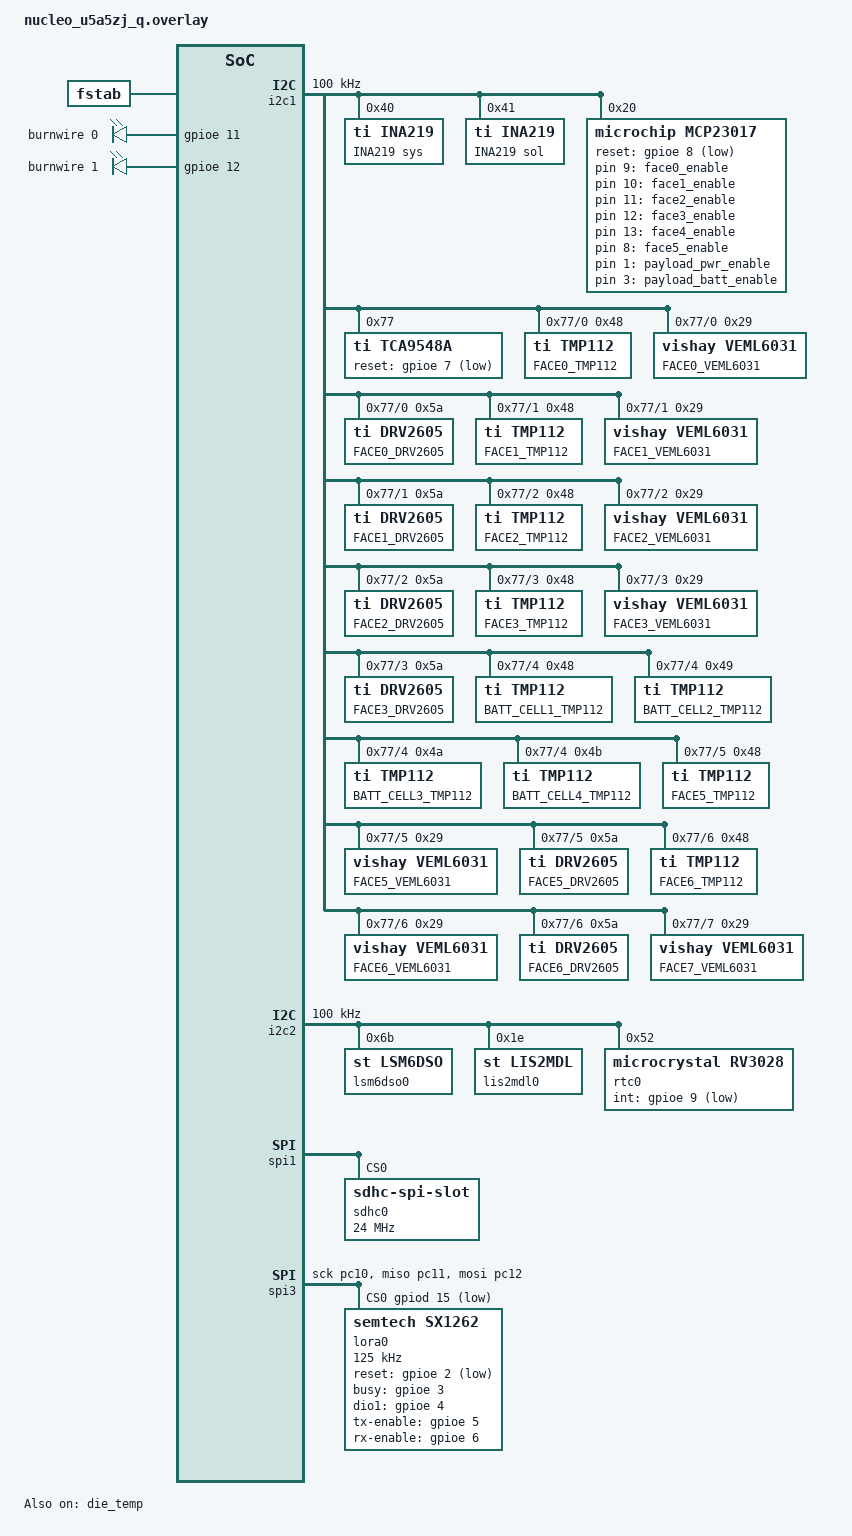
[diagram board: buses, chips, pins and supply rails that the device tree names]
/*
 * NUCLEO-U5A5ZJ-Q bring-up overlay for the PROVES ReferenceDeployment.
 * Supplies every node label the topology binds. The FC peripherals are
 * absent, so their drivers sit on real U5A5 buses and fail at runtime.
 * Bus mapping: v5 i2c0 -> STM32 i2c1 (PB8/PB9), v5 i2c1 -> i2c2 (PF1/PF0),
 * SD (v5 spi0) -> spi1 (PA5-7, CS PD14), LoRa (v5 spi1) -> spi3 (PC10-12).
 * The F' link (cdc_acm_uart0) is usart1, the ST-LINK VCP.
 */
#include <zephyr/dt-bindings/lora/sx126x.h>

cdc_acm_uart0: &usart1 {};
uart0: &usart2 {};
uart1: &lpuart1 {};
led0: &green_led_1 {};

/ {
	chosen {
		zephyr,console = &usart1;
		zephyr,shell-uart = &usart1;
	};

	fstab {
		compatible = "zephyr,fstab";
		ffs1: ffs1 {
			compatible = "zephyr,fstab,fatfs";
			automount;
			disk-access;
			mount-point = "/";
		};
	};

	burnwires {
		compatible = "gpio-leds";
		burnwire0: burnwire0 {
			gpios = <&gpioe 11 GPIO_ACTIVE_HIGH>;
			label = "burnwire 0";
		};
		burnwire1: burnwire1 {
			gpios = <&gpioe 12 GPIO_ACTIVE_HIGH>;
			label = "burnwire 1";
		};
	};

	gpio_outputs {
		compatible = "gpio-leds";
		face0_enable: face0-enable { gpios = <&mcp23017 9 GPIO_ACTIVE_HIGH>; };
		face1_enable: face1-enable { gpios = <&mcp23017 10 GPIO_ACTIVE_HIGH>; };
		face2_enable: face2-enable { gpios = <&mcp23017 11 GPIO_ACTIVE_HIGH>; };
		face3_enable: face3-enable { gpios = <&mcp23017 12 GPIO_ACTIVE_HIGH>; };
		face4_enable: face4-enable { gpios = <&mcp23017 13 GPIO_ACTIVE_HIGH>; };
		face5_enable: face5-enable { gpios = <&mcp23017 8 GPIO_ACTIVE_HIGH>; };
		payload_pwr_enable: payload-pwr-enable { gpios = <&mcp23017 1 GPIO_ACTIVE_HIGH>; };
		payload_batt_enable: payload-batt-enable { gpios = <&mcp23017 3 GPIO_ACTIVE_HIGH>; };
	};
};

&i2c1_scl_pb8 { bias-pull-up; };
&i2c1_sda_pb9 { bias-pull-up; };
&i2c2_scl_pf1 { bias-pull-up; };
&i2c2_sda_pf0 { bias-pull-up; };

&die_temp {
	status = "okay";
};

&i2c1 {
	clock-frequency = <I2C_BITRATE_STANDARD>;

	ina219_0: ina219_0@40 {
		compatible = "ti,ina219";
		reg = <0x40>;
		brng = <0>;
		pg = <0>;
		badc = <12>;
		sadc = <12>;
		shunt-milliohm = <2>;
		lsb-microamp = <61>;
		label = "INA219 sys";
	};
	ina219_1: ina219_1@41 {
		compatible = "ti,ina219";
		reg = <0x41>;
		brng = <0>;
		pg = <0>;
		badc = <12>;
		sadc = <12>;
		shunt-milliohm = <2>;
		lsb-microamp = <61>;
		label = "INA219 sol";
	};

	mcp23017: mcp23017@20 {
		compatible = "microchip,mcp23017";
		reg = <0x20>;
		gpio-controller;
		#gpio-cells = <2>;
		reset-gpios = <&gpioe 8 GPIO_ACTIVE_LOW>;
		ngpios = <16>;
	};

	tca9548a: tca9548a@77 {
		compatible = "ti,tca9548a";
		status = "okay";
		reg = <0x77>;
		#address-cells = <1>;
		#size-cells = <0>;
		label = "TCA9548A";
		reset-gpios = <&gpioe 7 GPIO_ACTIVE_LOW>;
		i2c-mux-idle-disconnect;

		mux_channel_0: i2c_mux@0 {
			reg = <0>;
			#address-cells = <1>;
			#size-cells = <0>;

			face0_temp_sens: tmp112@48 {
				compatible = "ti,tmp112";
				reg = <0x48>;
				status = "okay";
				label = "FACE0_TMP112";
				zephyr,deferred-init;
			};

			face0_light_sens: light@29 {
				compatible = "vishay,veml6031";
				reg = <0x29>;
				status = "okay";
				label = "FACE0_VEML6031";
				zephyr,deferred-init;
			};

			face0_drv2605: drv2605@5a {
				compatible = "ti,drv2605";
				status = "okay";
				reg = <0x5a>;
				label = "FACE0_DRV2605";
				zephyr,deferred-init;

				actuator-mode = "ERM";
				loop-gain = "HIGH";
				feedback-brake-factor = "2X";
			};

		};

		mux_channel_1: i2c_mux@1 {
			reg = <1>;
			#address-cells = <1>;
			#size-cells = <0>;

			face1_temp_sens: tmp112@48 {
				compatible = "ti,tmp112";
				reg = <0x48>;
				status = "okay";
				label = "FACE1_TMP112";
				zephyr,deferred-init;
			};

			face1_light_sens: light@29 {
				compatible = "vishay,veml6031";
				reg = <0x29>;
				status = "okay";
				label = "FACE1_VEML6031";
				zephyr,deferred-init;
			};

			face1_drv2605: drv2605@5a {
				compatible = "ti,drv2605";
				status = "okay";
				reg = <0x5a>;
				label = "FACE1_DRV2605";
				zephyr,deferred-init;

				actuator-mode = "ERM";
				loop-gain = "HIGH";
				feedback-brake-factor = "2X";
			};

		};

		mux_channel_2: i2c_mux@2 {
			reg = <2>;
			#address-cells = <1>;
			#size-cells = <0>;

			face2_temp_sens: tmp112@48 {
				compatible = "ti,tmp112";
				reg = <0x48>;
				status = "okay";
				label = "FACE2_TMP112";
				zephyr,deferred-init;
			};

			face2_light_sens: light@29 {
				compatible = "vishay,veml6031";
				reg = <0x29>;
				status = "okay";
				label = "FACE2_VEML6031";
				zephyr,deferred-init;
			};

			face2_drv2605: drv2605@5a {
				compatible = "ti,drv2605";
				status = "okay";
				reg = <0x5a>;
				label = "FACE2_DRV2605";
				zephyr,deferred-init;

				actuator-mode = "ERM";
				loop-gain = "HIGH";
				feedback-brake-factor = "2X";
			};

		};

		mux_channel_3: i2c_mux@3 {
			reg = <3>;
			#address-cells = <1>;
			#size-cells = <0>;

			face3_temp_sens: tmp112@48 {
				compatible = "ti,tmp112";
				reg = <0x48>;
				status = "okay";
				label = "FACE3_TMP112";
				zephyr,deferred-init;
			};

			face3_light_sens: light@29 {
				compatible = "vishay,veml6031";
				reg = <0x29>;
				status = "okay";
				label = "FACE3_VEML6031";
				zephyr,deferred-init;
			};

			face3_drv2605: drv2605@5a {
				compatible = "ti,drv2605";
				status = "okay";
				reg = <0x5a>;
				label = "FACE3_DRV2605";
				zephyr,deferred-init;

				actuator-mode = "ERM";
				loop-gain = "HIGH";
				feedback-brake-factor = "2X";
			};

		};

		// Battery
		mux_channel_4: i2c_mux@4 {
			reg = <4>;
			#address-cells = <1>;
			#size-cells = <0>;
			batt_cell1_temp_sens: tmp112@48 {
				compatible = "ti,tmp112";
				reg = <0x48>;
				status = "okay";
				label = "BATT_CELL1_TMP112";
                zephyr,deferred-init;
			};
			batt_cell2_temp_sens: tmp112@49 {
				compatible = "ti,tmp112";
				reg = <0x49>;
				status = "okay";
				label = "BATT_CELL2_TMP112";
                zephyr,deferred-init;
			};
			batt_cell3_temp_sens: tmp112@4a {
				compatible = "ti,tmp112";
				reg = <0x4a>;
				status = "okay";
				label = "BATT_CELL3_TMP112";
				zephyr,deferred-init;
			};
			batt_cell4_temp_sens: tmp112@4b {
				compatible = "ti,tmp112";
				reg = <0x4b>;
				status = "okay";
				label = "BATT_CELL4_TMP112";
				zephyr,deferred-init;
			};
		};

		// Z- Face x1
		mux_channel_5: i2c_mux@5 {
			reg = <5>;
			#address-cells = <1>;
			#size-cells = <0>;

			face5_temp_sens: tmp112@48 {
				compatible = "ti,tmp112";
				reg = <0x48>;
				status = "okay";
				label = "FACE5_TMP112";
				zephyr,deferred-init;
			};

			face5_light_sens: light@29 {
				compatible = "vishay,veml6031";
				reg = <0x29>;
				status = "okay";
				label = "FACE5_VEML6031";
				zephyr,deferred-init;
			};

			face5_drv2605: drv2605@5a {
				compatible = "ti,drv2605";
				status = "okay";
				reg = <0x5a>;
				label = "FACE5_DRV2605";
				zephyr,deferred-init;

				actuator-mode = "ERM";
				loop-gain = "HIGH";
				feedback-brake-factor = "2X";
			};

		};

		// Z- Face x2
		mux_channel_6: i2c_mux@6 {
			reg = <6>;
			#address-cells = <1>;
			#size-cells = <0>;

			face6_temp_sens: tmp112@48 {
				compatible = "ti,tmp112";
				reg = <0x48>;
				status = "okay";
				label = "FACE6_TMP112";
				zephyr,deferred-init;
			};

			face6_light_sens: light@29 {
				compatible = "vishay,veml6031";
				reg = <0x29>;
				status = "okay";
				label = "FACE6_VEML6031";
				zephyr,deferred-init;
			};

			face6_drv2605: drv2605@5a {
				compatible = "ti,drv2605";
				status = "okay";
				reg = <0x5a>;
				label = "FACE6_DRV2605";
				zephyr,deferred-init;

				actuator-mode = "ERM";
				loop-gain = "HIGH";
				feedback-brake-factor = "2X";
			};

		};

		// Top cap
		mux_channel_7: i2c_mux@7 {
			reg = <7>;
			#address-cells = <1>;
			#size-cells = <0>;
			// TODO add top cap temp sensor (it's not a TMP112)
			face7_light_sens: light@29 {
				compatible = "vishay,veml6031";
				reg = <0x29>;
				status = "okay";
				label = "FACE7_VEML6031";
				zephyr,deferred-init;
			};
		};
	};
};

&i2c2 {
	clock-frequency = <I2C_BITRATE_STANDARD>;

	lsm6dso0: lsm6dso0@6b {
		compatible = "st,lsm6dso";
		reg = <0x6b>;
	};

	lis2mdl0: lis2mdl0@1e {
		compatible = "st,lis2mdl";
		reg = <0x1e>;
	};

	rtc0: rtc0@52 {
		compatible = "microcrystal,rv3028";
		reg = <0x52>;
		int-gpios = <&gpioe 9 GPIO_ACTIVE_LOW>;
		backup-switch-mode = "direct";
		alarms-count = <1>;
	};
};

&spi1 {
	sdhc0: sdhc@0 {
		compatible = "zephyr,sdhc-spi-slot";
		reg = <0>;
		status = "okay";
		spi-max-frequency = <24000000>;
		mmc {
			compatible = "zephyr,sdmmc-disk";
			disk-name = "SD";
			status = "okay";
		};
	};
};

&spi3 {
	pinctrl-0 = <&spi3_sck_pc10 &spi3_miso_pc11 &spi3_mosi_pc12>;
	pinctrl-names = "default";
	cs-gpios = <&gpiod 15 GPIO_ACTIVE_LOW>;
	status = "okay";

	lora0: lora@0 {
		compatible = "semtech,sx1262";
		reg = <0>;
		spi-max-frequency = <125000>;
		reset-gpios = <&gpioe 2 GPIO_ACTIVE_LOW>;
		busy-gpios = <&gpioe 3 GPIO_ACTIVE_HIGH>;
		dio1-gpios = <&gpioe 4 GPIO_ACTIVE_HIGH>;
		tx-enable-gpios = <&gpioe 5 (GPIO_PULL_DOWN | GPIO_ACTIVE_HIGH)>;
		rx-enable-gpios = <&gpioe 6 (GPIO_PULL_DOWN | GPIO_ACTIVE_HIGH)>;
		dio3-tcxo-voltage = <SX126X_DIO3_TCXO_1V8>;
		tcxo-power-startup-delay-ms = <10>;
		rx-boosted;
	};
};
